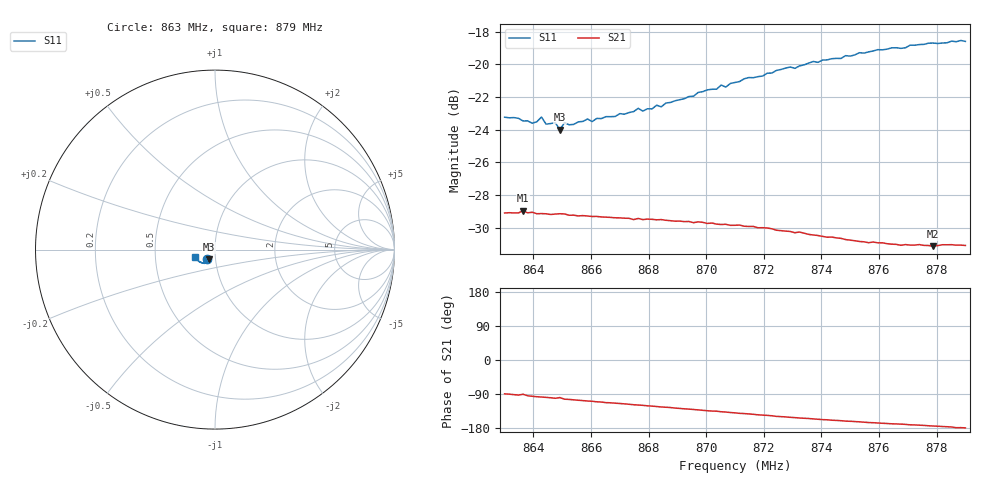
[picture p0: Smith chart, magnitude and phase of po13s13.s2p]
# HZ S RI R 50
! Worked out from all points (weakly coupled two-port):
!   101 points, 863 MHz to 879 MHz, reference 50 ohm
!   highest |S21| = -28.97 dB at 863.64 MHz (marker M1); lowest = -31.1 dB at 877.88 MHz (marker M2)
!   lowest |S11| = -24.0 dB at 864.92 MHz (marker M3), VSWR 1.13, Z = 46.5 - j5.01 ohm
!   |S11| at or under -10 dB: start of sweep to end of sweep
!   S12 and S22 are empty: the file has one direction only
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8.63e8  -0.0436 -0.0533  0.000444 -0.035  0 0  0 0
8.6364e8  -0.0374 -0.0557  -0.000245 -0.0356  0 0  0 0
8.6396e8  -0.0386 -0.0536  -0.00353 -0.035  0 0  0 0
8.6428e8  -0.0391 -0.0569  -0.00467 -0.0346  0 0  0 0
8.6444e8  -0.0372 -0.0541  -0.00526 -0.0344  0 0  0 0
8.6476e8  -0.0374 -0.0547  -0.00664 -0.0341  0 0  0 0
8.6492e8  -0.0333 -0.0536  -0.00553 -0.0344  0 0  0 0
8.6508e8  -0.035 -0.0563  -0.00804 -0.0339  0 0  0 0
8.6524e8  -0.0353 -0.055  -0.0084 -0.0334  0 0  0 0
8.6572e8  -0.0346 -0.0572  -0.0101 -0.0329  0 0  0 0
8.6684e8  -0.0349 -0.0599  -0.0138 -0.0309  0 0  0 0
8.6764e8  -0.0359 -0.064  -0.0163 -0.0295  0 0  0 0
8.678e8  -0.0345 -0.0631  -0.0166 -0.0291  0 0  0 0
8.6828e8  -0.036 -0.0658  -0.0181 -0.0281  0 0  0 0
8.6844e8  -0.035 -0.0654  -0.0187 -0.0278  0 0  0 0
8.686e8  -0.0353 -0.0675  -0.0189 -0.0274  0 0  0 0
8.71e8  -0.0479 -0.0739  -0.0244 -0.0209  0 0  0 0
8.7308e8  -0.0624 -0.0747  -0.0269 -0.0143  0 0  0 0
8.7372e8  -0.0682 -0.0761  -0.0273 -0.0125  0 0  0 0
8.7644e8  -0.0932 -0.063  -0.0275 -0.00568  0 0  0 0
8.7788e8  -0.1045 -0.0512  -0.0276 -0.00279  0 0  0 0
8.79e8  -0.1108 -0.0398  -0.0279 -0.000385  0 0  0 0
